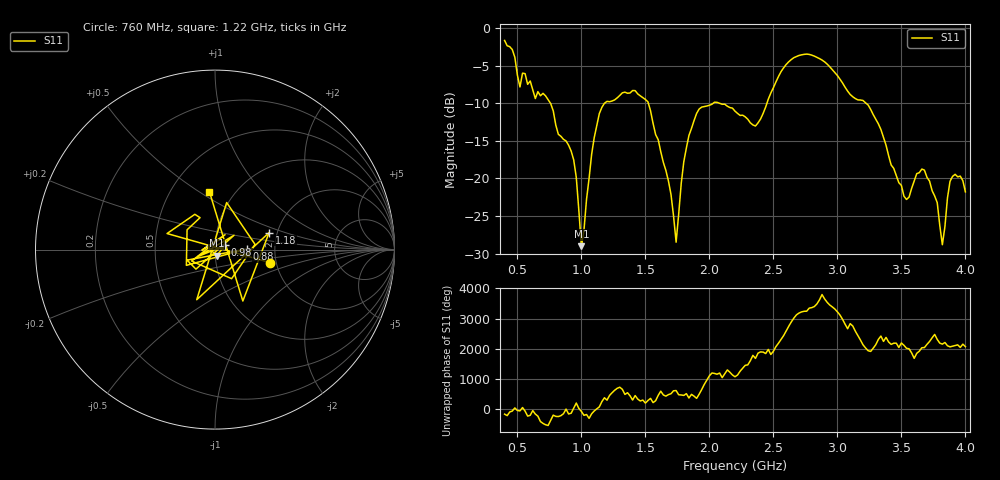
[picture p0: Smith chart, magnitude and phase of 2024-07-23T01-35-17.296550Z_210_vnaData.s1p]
!Created with skrf (http://scikit-rf.org).
# Hz S RI R 50.0
!freq ReS11 ImS11
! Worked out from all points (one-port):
!   181 points, 400 MHz to 4 GHz, reference 50 ohm
!   lowest |S11| = -29.0 dB at 1 GHz (marker M1), VSWR 1.07, Z = 50.8 - j3.49 ohm
!   |S11| at or under -10 dB: 758.7 MHz to 1.18 GHz (420.9 MHz wide, 43.4 % of centre); 1.523 GHz to 2.029 GHz (505.9 MHz wide, 28.5 % of centre); 3.225 GHz to end of sweep (the widest 3 of 4)
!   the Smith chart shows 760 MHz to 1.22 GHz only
!   S11 on the Smith chart (normalised r, x): 760 MHz: 1.85, -0.30; 880 MHz: 1.43, +0.01; 980 MHz: 1.12, +0.05; 1.18 GHz: 1.81, +0.38; 1.22 GHz: 0.77, +0.55
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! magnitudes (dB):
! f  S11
! 400 MHz  -1.6
! 520 MHz  -7.8
! 760 MHz  -10.0
! 860 MHz  -14.8
! 880 MHz  -15.0
! 940 MHz  -17.5
! 980 MHz  -24.3
! 1 GHz  -29.0
! 1.1 GHz  -14.6
! 1.18 GHz  -10.0
! 1.22 GHz  -9.8
! 1.3 GHz  -8.9
! 1.52 GHz  -9.8
! 1.68 GHz  -20.3
! 1.74 GHz  -28.5
! 1.76 GHz  -24.7
! 1.8 GHz  -17.8
! 1.9 GHz  -11.4
! 2.2 GHz  -11.0
! 2.36 GHz  -13.0
! 2.66 GHz  -3.9
! 3.1 GHz  -8.8
! 3.56 GHz  -22.5
! 3.68 GHz  -18.9
! 3.78 GHz  -23.2
! 3.82 GHz  -28.8
! 3.88 GHz  -20.4
! 4 GHz  -21.8
